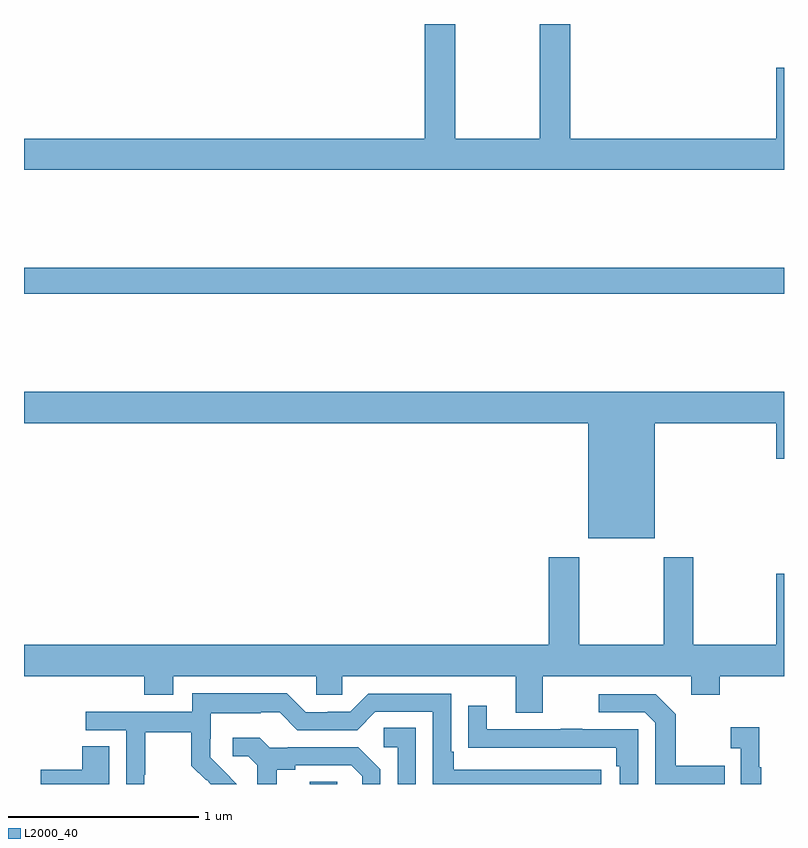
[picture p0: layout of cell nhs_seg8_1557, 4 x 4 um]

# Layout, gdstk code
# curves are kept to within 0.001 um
import gdstk
lib = gdstk.Library(unit=1e-6, precision=1e-09)
def R(c, l, rs):  # rectangles x0, y0, x1, y1
    for r in rs: c.add(gdstk.rectangle(r[:2], r[2:], *l))
def P(c, l, *ps):  # polygons
    for p in ps: c.add(gdstk.Polygon(p, *l))
L2000_40 = (2000, 40)

nhs_seg8_1557 = lib.new_cell('nhs_seg8_1557')
R(nhs_seg8_1557, L2000_40, [(210.503,1147.9,210.648,1147.913), (209,1150.48,213,1150.616)])
P(nhs_seg8_1557, L2000_40, [(213,1151.671),(212.96,1151.671),(212.96,1151.296),(211.874,1151.296),(211.874,1151.9),(211.714,1151.9),(211.714,1151.296),(211.269,1151.296),(211.269,1151.9),(211.109,1151.9),(211.109,1151.296),(209,1151.296),(209,1151.132),(213,1151.132)],
  [(212.32,1149.8),(212.96,1149.8),(212.96,1149.612),(213,1149.612),(213,1149.964),(209,1149.964),(209,1149.8),(211.97,1149.8),(211.97,1149.194),(212.32,1149.194)],
  [(209,1148.468),(209.633,1148.468),(209.633,1148.369),(209.785,1148.369),(209.785,1148.468),(210.537,1148.468),(210.537,1148.37),(210.675,1148.37),(210.675,1148.468),(211.589,1148.468),(211.589,1148.274),(211.729,1148.274),(211.729,1148.468),(212.513,1148.468),(212.513,1148.369),(212.661,1148.369),(212.661,1148.468),(213,1148.468),(213,1149.007),(212.96,1149.007),(212.96,1148.632),(212.523,1148.632),(212.523,1149.094),(212.368,1149.094),(212.368,1148.632),(211.923,1148.632),(211.923,1149.094),(211.763,1149.094),(211.763,1148.632),(209,1148.632)],
  [(209.634,1147.948),(209.637,1147.948),(209.637,1148.172),(209.881,1148.172),(209.881,1147.997),(209.958,1147.92),(209.961,1147.923),(209.984,1147.9),(210.12,1147.9),(209.98,1148.042),(209.98,1148.139),(209.982,1148.139),(209.982,1148.273),(210.245,1148.273),(210.245,1148.277),(210.345,1148.277),(210.438,1148.184),(210.753,1148.184),(210.849,1148.28),(211.152,1148.28),(211.152,1147.9),(212.038,1147.9),(212.038,1147.974),(211.261,1147.974),(211.261,1148.071),(211.248,1148.071),(211.248,1148.376),(210.813,1148.376),(210.717,1148.28),(210.599,1148.28),(210.599,1148.277),(210.483,1148.277),(210.383,1148.377),(209.886,1148.377),(209.886,1148.28),(209.325,1148.28),(209.325,1148.184),(209.538,1148.184),(209.538,1147.9),(209.634,1147.9)],
  [(212.687,1147.995),(212.431,1147.995),(212.431,1148.267),(212.325,1148.373),(212.025,1148.373),(212.025,1148.277),(212.268,1148.277),(212.322,1148.223),(212.322,1147.9),(212.687,1147.9)],
  [(212.232,1148.187),(211.937,1148.187),(211.937,1148.192),(211.825,1148.192),(211.825,1148.187),(211.435,1148.187),(211.435,1148.311),(211.339,1148.311),(211.339,1148.092),(211.441,1148.092),(211.441,1148.091),(212.116,1148.091),(212.116,1147.994),(212.136,1147.994),(212.136,1147.9),(212.232,1147.9)],
  [(212.881,1147.987),(212.869,1147.987),(212.869,1148.2),(212.721,1148.2),(212.721,1148.087),(212.772,1148.087),(212.772,1147.9),(212.881,1147.9)],
  [(211.062,1148.195),(210.894,1148.195),(210.894,1148.094),(210.966,1148.094),(210.966,1147.9),(211.062,1147.9)],
  [(210.331,1147.976),(210.427,1147.976),(210.427,1147.998),(210.722,1147.998),(210.779,1147.941),(210.779,1147.9),(210.876,1147.9),(210.876,1147.978),(210.76,1148.094),(210.388,1148.094),(210.388,1148.091),(210.294,1148.091),(210.242,1148.143),(210.099,1148.143),(210.099,1148.046),(210.18,1148.046),(210.227,1147.999),(210.227,1147.9),(210.331,1147.9)],
  [(209.449,1148.099),(209.306,1148.099),(209.306,1147.976),(209.088,1147.976),(209.088,1147.9),(209.449,1147.9)])

lib.write_gds('nhs_seg8_1557.gds')
